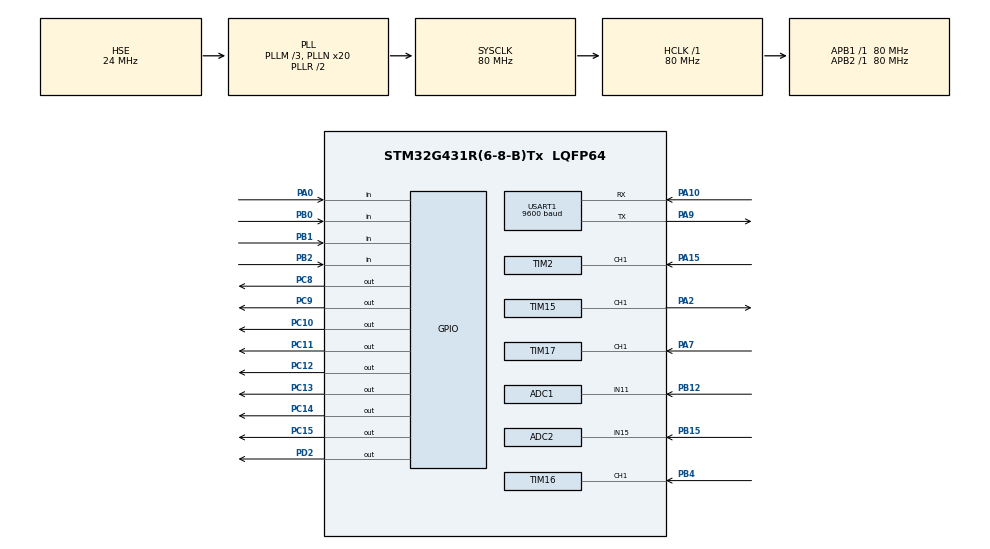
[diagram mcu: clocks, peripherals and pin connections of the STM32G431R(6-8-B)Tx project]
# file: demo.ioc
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ADC1.Channel-0\#ChannelRegularConversion=ADC_CHANNEL_11
ADC1.NbrOfConversionFlag=1
ADC1.OffsetNumber-0\#ChannelRegularConversion=ADC_OFFSET_NONE
ADC1.Rank-0\#ChannelRegularConversion=1
ADC1.SamplingTime-0\#ChannelRegularConversion=ADC_SAMPLETIME_2CYCLES_5
ADC1.master=1
ADC2.Channel-0\#ChannelRegularConversion=ADC_CHANNEL_15
ADC2.NbrOfConversionFlag=1
ADC2.OffsetNumber-0\#ChannelRegularConversion=ADC_OFFSET_NONE
ADC2.Rank-0\#ChannelRegularConversion=1
ADC2.SamplingTime-0\#ChannelRegularConversion=ADC_SAMPLETIME_2CYCLES_5
Dma.Request0=USART1_RX
Dma.Request1=USART1_TX
Dma.USART1_RX.0.Direction=DMA_PERIPH_TO_MEMORY
Dma.USART1_RX.0.EventEnable=DISABLE
Dma.USART1_RX.0.Instance=DMA1_Channel1
Dma.USART1_RX.0.MemDataAlignment=DMA_MDATAALIGN_BYTE
Dma.USART1_RX.0.MemInc=DMA_MINC_ENABLE
Dma.USART1_RX.0.Mode=DMA_NORMAL
Dma.USART1_RX.0.PeriphDataAlignment=DMA_PDATAALIGN_BYTE
Dma.USART1_RX.0.PeriphInc=DMA_PINC_DISABLE
Dma.USART1_RX.0.Polarity=HAL_DMAMUX_REQ_GEN_RISING
Dma.USART1_RX.0.Priority=DMA_PRIORITY_LOW
Dma.USART1_RX.0.RequestNumber=1
Dma.USART1_RX.0.SignalID=NONE
Dma.USART1_RX.0.SyncEnable=DISABLE
Dma.USART1_RX.0.SyncPolarity=HAL_DMAMUX_SYNC_NO_EVENT
Dma.USART1_RX.0.SyncRequestNumber=1
Dma.USART1_RX.0.SyncSignalID=NONE
Dma.USART1_TX.1.Direction=DMA_MEMORY_TO_PERIPH
Dma.USART1_TX.1.EventEnable=DISABLE
Dma.USART1_TX.1.Instance=DMA1_Channel2
Dma.USART1_TX.1.MemDataAlignment=DMA_MDATAALIGN_BYTE
Dma.USART1_TX.1.MemInc=DMA_MINC_ENABLE
Dma.USART1_TX.1.Mode=DMA_NORMAL
Dma.USART1_TX.1.PeriphDataAlignment=DMA_PDATAALIGN_BYTE
Dma.USART1_TX.1.PeriphInc=DMA_PINC_DISABLE
Dma.USART1_TX.1.Polarity=HAL_DMAMUX_REQ_GEN_RISING
Dma.USART1_TX.1.Priority=DMA_PRIORITY_LOW
Dma.USART1_TX.1.RequestNumber=1
Dma.USART1_TX.1.SignalID=NONE
Dma.USART1_TX.1.SyncEnable=DISABLE
Dma.USART1_TX.1.SyncPolarity=HAL_DMAMUX_SYNC_NO_EVENT
Dma.USART1_TX.1.SyncRequestNumber=1
Dma.USART1_TX.1.SyncSignalID=NONE
Mcu.Family=STM32G4
Mcu.Name=STM32G431R(6-8-B)Tx
Mcu.Package=LQFP64
NVIC.DMA1_Channel1_IRQn=true\:0\:0\:false\:false\:true\:false\:true\:true
NVIC.DMA1_Channel2_IRQn=true\:0\:0\:false\:false\:true\:false\:true\:true
NVIC.PriorityGroup=NVIC_PRIORITYGROUP_4
NVIC.TIM1_TRG_COM_TIM17_IRQn=true\:0\:0\:false\:false\:true\:true\:true\:true
NVIC.TIM1_UP_TIM16_IRQn=true\:0\:0\:false\:false\:true\:true\:true\:true
NVIC.TIM2_IRQn=true\:0\:0\:false\:false\:true\:true\:true\:true
NVIC.TIM3_IRQn=true\:0\:0\:false\:false\:true\:true\:true\:true
NVIC.USART1_IRQn=true\:0\:0\:false\:false\:true\:true\:true\:true
PA0.GPIO_PuPd=GPIO_PULLUP
PA0.Signal=GPIO_Input
PA10.Mode=Asynchronous
PA10.Signal=USART1_RX
PA13.Mode=Serial_Wire
PA13.Signal=SYS_JTMS-SWDIO
PA14.Mode=Serial_Wire
PA14.Signal=SYS_JTCK-SWCLK
PA15.Signal=S_TIM2_CH1
PA2.Signal=S_TIM15_CH1
PA7.Signal=S_TIM17_CH1
PA9.Mode=Asynchronous
PA9.Signal=USART1_TX
PB0.GPIO_PuPd=GPIO_PULLUP
PB0.Signal=GPIO_Input
PB1.GPIO_PuPd=GPIO_PULLUP
PB1.Signal=GPIO_Input
PB12.Mode=IN11-Single-Ended
PB12.Signal=ADC1_IN11
PB15.Mode=IN15-Single-Ended
PB15.Signal=ADC2_IN15
PB2.GPIO_PuPd=GPIO_PULLUP
PB2.Signal=GPIO_Input
PB4.Signal=S_TIM16_CH1
PC10.PinState=GPIO_PIN_SET
PC10.Signal=GPIO_Output
PC11.PinState=GPIO_PIN_SET
PC11.Signal=GPIO_Output
PC12.PinState=GPIO_PIN_SET
PC12.Signal=GPIO_Output
PC13.PinState=GPIO_PIN_SET
PC13.Signal=GPIO_Output
PC14-OSC32_IN.PinState=GPIO_PIN_SET
PC14-OSC32_IN.Signal=GPIO_Output
PC15-OSC32_OUT.PinState=GPIO_PIN_SET
PC15-OSC32_OUT.Signal=GPIO_Output
PC8.PinState=GPIO_PIN_SET
PC8.Signal=GPIO_Output
PC9.PinState=GPIO_PIN_SET
PC9.Signal=GPIO_Output
PD2.PinState=GPIO_PIN_SET
PD2.Signal=GPIO_Output
PF0-OSC_IN.Mode=HSE-External-Oscillator
PF0-OSC_IN.Signal=RCC_OSC_IN
PF1-OSC_OUT.Mode=HSE-External-Oscillator
PF1-OSC_OUT.Signal=RCC_OSC_OUT
ProjectManager.HeapSize=0x200
ProjectManager.StackSize=0x400
ProjectManager.TargetToolchain=MDK-ARM V5.32
RCC.ADC12Freq_Value=80000000
RCC.AHBFreq_Value=80000000
RCC.APB1Freq_Value=80000000
RCC.APB1TimFreq_Value=80000000
RCC.APB2Freq_Value=80000000
RCC.APB2TimFreq_Value=80000000
RCC.CortexFreq_Value=80000000
RCC.EXTERNAL_CLOCK_VALUE=12288000
RCC.HCLKFreq_Value=80000000
RCC.HSE_VALUE=24000000
RCC.HSI48_VALUE=48000000
RCC.HSI_VALUE=16000000
RCC.LSE_VALUE=32768
RCC.PLLM=RCC_PLLM_DIV3
RCC.PLLN=20
RCC.PLLSourceVirtual=RCC_PLLSOURCE_HSE
RCC.SYSCLKFreq_VALUE=80000000
RCC.SYSCLKSource=RCC_SYSCLKSOURCE_PLLCLK
RCC.USBFreq_Value=80000000
RCC.VCOOutputFreq_Value=160000000
SH.S_TIM15_CH1.0=TIM15_CH1,PWM Generation1 CH1
SH.S_TIM16_CH1.0=TIM16_CH1,Input_Capture1_from_TI1
SH.S_TIM17_CH1.0=TIM17_CH1,Input_Capture1_from_TI1
SH.S_TIM2_CH1.0=TIM2_CH1,Input_Capture1_from_TI1
TIM15.Channel-PWM\ Generation1\ CH1=TIM_CHANNEL_1
TIM15.PeriodNoDither=100-1
TIM15.Prescaler=400-1
TIM16.Channel=TIM_CHANNEL_1
TIM16.Prescaler=80-1
TIM17.Channel=TIM_CHANNEL_1
TIM17.Prescaler=80-1
TIM2.Channel-Input_Capture1_from_TI1=TIM_CHANNEL_1
TIM2.Prescaler=80-1
TIM3.PeriodNoDither=1000-1
TIM3.Prescaler=8000-1
TIM4.Prescaler=8000-1
USART1.BaudRate=9600
USART1.VirtualMode-Asynchronous=VM_ASYNC
VP_SYS_VS_DBSignals.Mode=DisableDeadBatterySignals
VP_TIM16_VS_ClockSourceINT.Mode=Enable_Timer
VP_TIM17_VS_ClockSourceINT.Mode=Enable_Timer
VP_TIM3_VS_ClockSourceINT.Mode=Internal
VP_TIM4_VS_ClockSourceINT.Mode=Internal
board=custom

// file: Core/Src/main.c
/* USER CODE BEGIN Header */
/**
  ******************************************************************************
  * @file           : main.c
  * @brief          : Main program body
  ******************************************************************************
  * @attention
  *
  * Copyright (c) 2025 STMicroelectronics.
  * All rights reserved.
  *
  * This software is licensed under terms that can be found in the LICENSE file
  * in the root directory of this software component.
  * If no LICENSE file comes with this software, it is provided AS-IS.
  *
  ******************************************************************************
  */
/* USER CODE END Header */
#include "main.h"
#include "adc.h"
#include "dma.h"
#include "tim.h"
#include "usart.h"
#include "gpio.h"

/* USER CODE BEGIN Includes */
#include "headfile.h"
/* USER CODE END Includes */

void SystemClock_Config(void);

int main(void)
{

  /* MCU Configuration--------------------------------------------------------*/

  /* Reset of all peripherals, Initializes the Flash interface and the Systick. */
  HAL_Init();

  /* Configure the system clock */
  SystemClock_Config();

  /* Initialize all configured peripherals */
  MX_GPIO_Init();
  MX_DMA_Init();
  MX_ADC1_Init();
  MX_ADC2_Init();
  MX_TIM2_Init();
  MX_TIM16_Init();
  MX_TIM15_Init();
  MX_TIM17_Init();
  MX_USART1_UART_Init();
  MX_TIM4_Init();
  MX_TIM3_Init();
  /* USER CODE BEGIN 2 */
	HAL_GPIO_WritePin(GPIOD, GPIO_PIN_2, GPIO_PIN_RESET);

	LCD_Init();
	LCD_Clear(Black);
	LCD_SetBackColor(Black);
	LCD_SetTextColor(White);

	HAL_ADCEx_Calibration_Start(&hadc1,ADC_SINGLE_ENDED);
	HAL_ADCEx_Calibration_Start(&hadc2,ADC_SINGLE_ENDED);

	I2CInit();
	eeprom_write(0,11);
	HAL_TIM_IC_Start_IT(&htim2,TIM_CHANNEL_1);
	HAL_TIM_IC_Start_IT(&htim16,TIM_CHANNEL_1);

	HAL_TIM_PWM_Start(&htim15,TIM_CHANNEL_1);
	TIM15->CCR1 = 50;

	HAL_TIM_IC_Start_IT(&htim17,TIM_CHANNEL_1);

	HAL_UARTEx_ReceiveToIdle_DMA(&huart1,(uint8_t *)rx_buff,100);

	HAL_TIM_Base_Start(&htim4);

	HAL_TIM_Base_Start_IT(&htim3);
  /* USER CODE END 2 */

  /* Infinite loop */
  /* USER CODE BEGIN WHILE */
  while (1)
  {
	  led_show(1,LED1_mode);
	  usart_process();

//	  printf("test\r\n");
//	  HAL_Delay(20);
	  lcd_show();
	  key_scan();

    /* USER CODE END WHILE */

  }
}

void SystemClock_Config(void)
{
  RCC_OscInitTypeDef RCC_OscInitStruct = {0};
  RCC_ClkInitTypeDef RCC_ClkInitStruct = {0};

  /** Configure the main internal regulator output voltage
  */
  HAL_PWREx_ControlVoltageScaling(PWR_REGULATOR_VOLTAGE_SCALE1);

  /** Initializes the RCC Oscillators according to the specified parameters
  * in the RCC_OscInitTypeDef structure.
  */
  RCC_OscInitStruct.OscillatorType = RCC_OSCILLATORTYPE_HSE;
  RCC_OscInitStruct.HSEState = RCC_HSE_ON;
  RCC_OscInitStruct.PLL.PLLState = RCC_PLL_ON;
  RCC_OscInitStruct.PLL.PLLSource = RCC_PLLSOURCE_HSE;
  RCC_OscInitStruct.PLL.PLLM = RCC_PLLM_DIV3;
  RCC_OscInitStruct.PLL.PLLN = 20;
  RCC_OscInitStruct.PLL.PLLP = RCC_PLLP_DIV2;
  RCC_OscInitStruct.PLL.PLLQ = RCC_PLLQ_DIV2;
  RCC_OscInitStruct.PLL.PLLR = RCC_PLLR_DIV2;
  if (HAL_RCC_OscConfig(&RCC_OscInitStruct) != HAL_OK)
  {
    Error_Handler();
  }

  /** Initializes the CPU, AHB and APB buses clocks
  */
  RCC_ClkInitStruct.ClockType = RCC_CLOCKTYPE_HCLK|RCC_CLOCKTYPE_SYSCLK
                              |RCC_CLOCKTYPE_PCLK1|RCC_CLOCKTYPE_PCLK2;
  RCC_ClkInitStruct.SYSCLKSource = RCC_SYSCLKSOURCE_PLLCLK;
  RCC_ClkInitStruct.AHBCLKDivider = RCC_SYSCLK_DIV1;
  RCC_ClkInitStruct.APB1CLKDivider = RCC_HCLK_DIV1;
  RCC_ClkInitStruct.APB2CLKDivider = RCC_HCLK_DIV1;

  if (HAL_RCC_ClockConfig(&RCC_ClkInitStruct, FLASH_LATENCY_2) != HAL_OK)
  {
    Error_Handler();
  }
}

void Error_Handler(void)
{
  __disable_irq();
  while (1)
  {
  }
}
